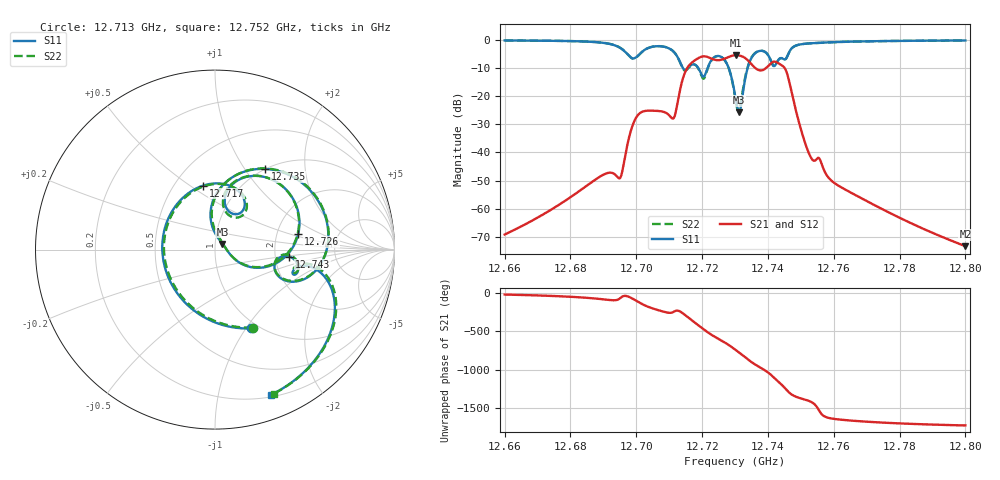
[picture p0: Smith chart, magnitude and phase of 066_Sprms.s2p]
! TOUCHSTONE file generated by CST MICROWAVE STUDIO
! Date and time: Wed Jul 31 14:01:49 2024
! Project name: WaveGuide_BPF-Ver4.1_U-shape_Ku_T3_C4_CWA_2.cst
! Parameters = {cavity_h=16; cavity_l0=10; cavity_l1=15.202; cavity_l2=16.8794; cavity_l3=17.1333; cavity_l4=17.2795; cavity_l5=17.127; cavity_l6=17.5765; cavity_r=2.5; cavity_screw_l=0.5; cavity_screw_r=1.5; cavity_w=8; iris_h00=0; iris_h01=8.8005; iris_h112=0; iris_h12=5.603; iris_h211=3.6614; iri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
! Header version: 2018
! Port assignment regex: !\s*Touchstone port\s*([0-9]+)\s*=\s*(CST MWS port|CST DS port)\s*([0-9]+|Zmin|Zmax)\s*\(\"(.*)\"\)(\s*mode\s*([0-9]+))?.*
! Touchstone port assignment:
! Touchstone port 1 = CST MWS port 1 ("")
! Touchstone port 2 = CST MWS port 2 ("")
# GHz S RI R 50
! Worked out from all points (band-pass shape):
!   5001 points, 12.66 GHz to 12.8 GHz, reference 50 ohm
!   highest |S21| = -5.43 dB at 12.73 GHz (marker M1); lowest = -73.3 dB at 12.8 GHz (marker M2)
!   |S21| within 3 dB of the highest: 12.71654 GHz to 12.73485 GHz (18.32 MHz wide, 0.144 % of centre); 12.74077 GHz to 12.74341 GHz (2.638 MHz wide, 0.0207 % of centre)
!   lowest |S11| = -25.7 dB at 12.731 GHz (marker M3), VSWR 1.11, Z = 54.2 + j3.43 ohm
!   |S11| at or under -10 dB: 12.71418 GHz to 12.71569 GHz (1.505 MHz wide, 0.0118 % of centre); 12.71886 GHz to 12.72167 GHz (2.803 MHz wide, 0.022 % of centre); 12.7281 GHz to 12.73383 GHz (5.735 MHz wide, 0.045 % of centre)
!   |S22| runs from -25.2 to -0.2 dB; largest |S21 - S12| = 1e-09
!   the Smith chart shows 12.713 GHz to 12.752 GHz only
!   S11 on the Smith chart (normalised r, x): 12.713 GHz: 0.92, -1.05; 12.717 GHz: 0.69, +0.57; 12.726 GHz: 2.63, +0.59; 12.735 GHz: 1.00, +1.24; 12.743 GHz: 2.40, -0.22; 12.752 GHz: 0.22, -1.43
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12.66  0.2909 0.9367  0.000322 -0.000128  0.000322 -0.000128  0.2906 0.937
12.68335  0.7491 0.5751  0.00113 -0.00188  0.00113 -0.00188  0.7446 0.5824
12.69245  0.8332 -0.0824  -0.000347 -0.00434  -0.000347 -0.00434  0.8379 -0.0629
12.69688  0.1856 -0.5664  0.00794 -0.00662  0.00794 -0.00662  0.2107 -0.5599
12.70046  -0.4886 0.1853  -0.0193 -0.0416  -0.0193 -0.0416  -0.4843 0.1776
12.70668  0.5544 0.5428  -0.039 0.0383  -0.039 0.0383  0.5549 0.5458
12.71267  0.1999 -0.4393  -0.0531 0.065  -0.0531 0.065  0.2095 -0.4342
12.71687  -0.0655 0.3569  0.3943 0.0189  0.3943 0.0189  -0.0451 0.3577
12.72014  0.1128 0.1969  -0.1018 -0.499  -0.1018 -0.499  0.1123 0.1781
12.72266  0.1481 0.3963  -0.4716 -0.00851  -0.4716 -0.00851  0.1365 0.3944
12.72639  0.4637 0.0869  0.00813 0.4551  0.00813 0.4551  0.4617 0.0933
12.73  0.0975 -0.0413  0.5184 -0.1315  0.5184 -0.1315  0.0919 -0.0347
12.73028  0.0821 -0.0238  0.4924 -0.2099  0.4924 -0.2099  0.0762 -0.0159
12.73126  0.0415 0.0315  0.306 -0.4312  0.306 -0.4312  0.0372 0.0447
12.73546  0.2781 0.4495  -0.34 0.0683  -0.34 0.0683  0.2865 0.4521
12.7396  0.5722 -0.1044  0.1605 0.2808  0.1605 0.2808  0.5742 -0.0995
12.74288  0.414 -0.0385  0.1872 -0.3484  0.1872 -0.3484  0.4134 -0.0295
12.74523  0.4364 -0.1163  -0.2858 -0.1128  -0.2858 -0.1128  0.4376 -0.1055
12.75223  0.3107 -0.8099  0.00778 0.00688  0.00778 0.00688  0.3287 -0.802
12.75335  0.2008 -0.8532  0.00716 0.00267  0.00716 0.00267  0.2192 -0.8479
12.77668  -0.9122 -0.2972  -0.000328 0.000796  -0.000328 0.000796  -0.9101 -0.3019
12.8  -0.9523 0.2318  3.97e-05 0.000212  3.97e-05 0.000212  -0.952 0.2324
